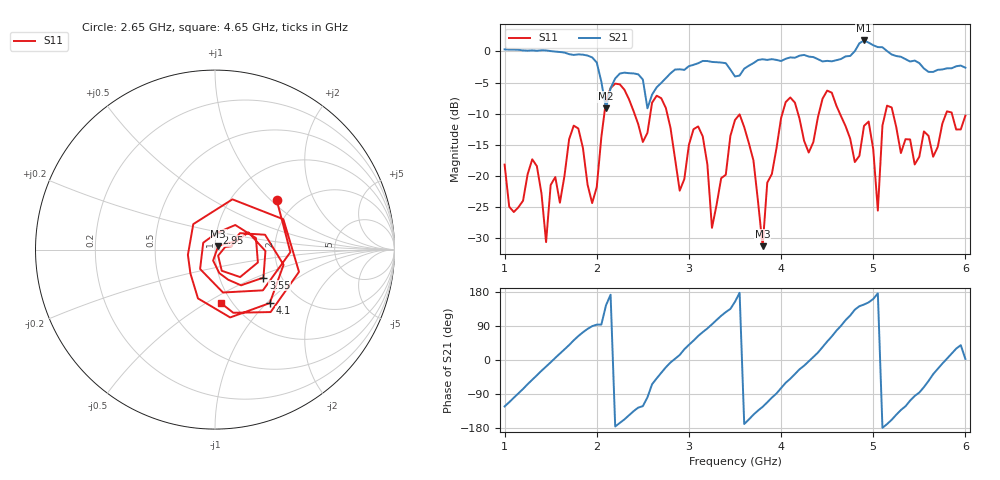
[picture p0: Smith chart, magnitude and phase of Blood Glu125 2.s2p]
! NanoVNA-App
! Date: 2024-03-21 15:03:41
! Start: 1GHz Stop: 6GHz Points: 101
! S-Parameter data: F S11 S21 S12 S22
# Hz S RI R 50
!	Frequency	S11_Real	S11_Imag	S21_Real	S21_Imag	S12_Real	S12_Imag	S22_Real	S22_Imag
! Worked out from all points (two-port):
!   101 points, 1 GHz to 6 GHz, reference 50 ohm
!   highest |S21| = 1.76 dB at 4.9 GHz (marker M1); lowest = -9.1 dB at 2.1 GHz (marker M2)
!   |S21| within 3 dB of the highest: start of sweep to 1.967 GHz; 4.645 GHz to 5.35 GHz (704.6 MHz wide, 14.1 % of centre)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
!   lowest |S11| = -31.3 dB at 3.8 GHz (marker M3), VSWR 1.06, Z = 51.8 + j2.09 ohm
!   |S11| at or under -10 dB: start of sweep to 2.082 GHz; 2.764 GHz to 4.014 GHz (1.25 GHz wide, 36.9 % of centre); 5.216 GHz to 5.791 GHz (575.2 MHz wide, 10.5 % of centre)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
!   S12 and S22 are empty: the file has one direction only
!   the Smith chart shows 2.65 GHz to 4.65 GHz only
!   S11 on the Smith chart (normalised r, x): 2.65 GHz: 1.59, +1.09; 2.95 GHz: 1.00, +0.19; 3.55 GHz: 1.62, -0.56; 4.1 GHz: 1.43, -1.04; 4.65 GHz: 0.89, -0.59
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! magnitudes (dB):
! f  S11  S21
! 1 GHz  -18.2  0.3
! 1.35 GHz  -18.4  0.1
! 1.45 GHz  -30.7  0.2
! 1.85 GHz  -15.5  -0.5
! 1.95 GHz  -24.4  -1.0
! 2.1 GHz  -7.9  -9.1
! 2.65 GHz  -7.1  -5.8
! 2.7 GHz  -7.5  -5.1
! 2.95 GHz  -20.5  -3.0
! 3.1 GHz  -12.1  -1.9
! 3.25 GHz  -28.4  -1.7
! 3.5 GHz  -11.0  -4.0
! 3.55 GHz  -10.1  -3.9
! 3.8 GHz  -31.3  -1.3
! 4.1 GHz  -7.4  -1.0
! 4.35 GHz  -14.6  -0.9
! 4.65 GHz  -10.4  -1.2
! 4.9 GHz  -12.0  1.8
! 5.05 GHz  -25.6  0.7
! 5.2 GHz  -9.0  -0.5
! 5.45 GHz  -18.2  -1.5
! 6 GHz  -10.3  -2.6
